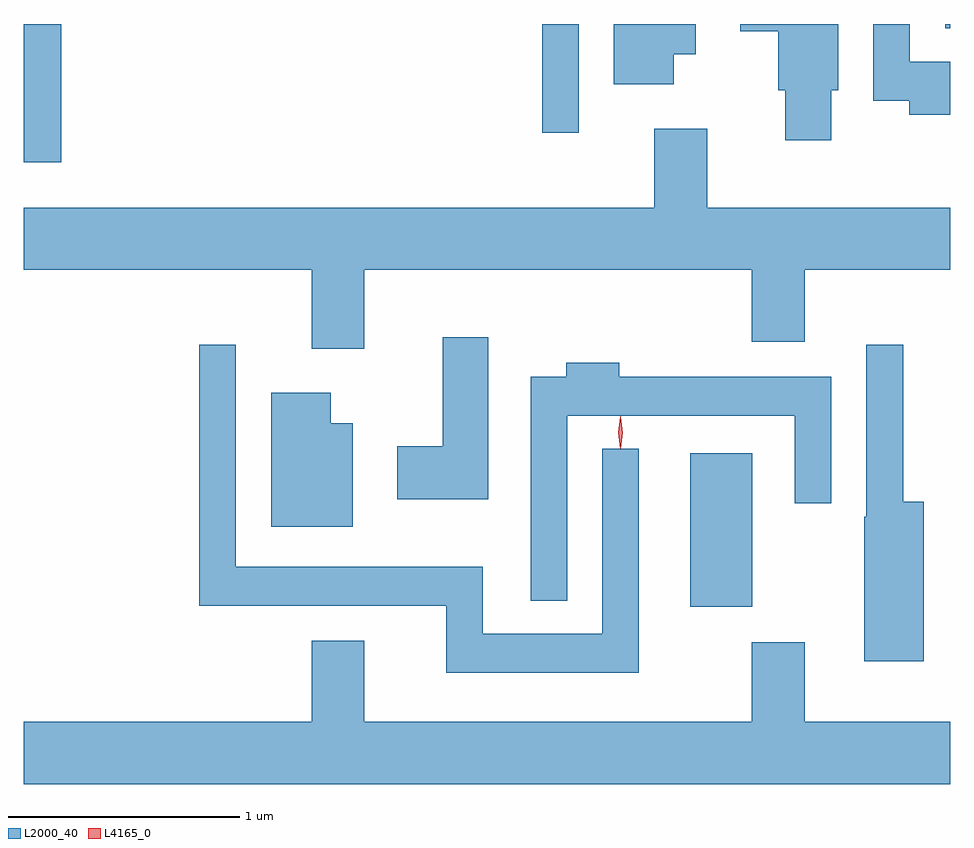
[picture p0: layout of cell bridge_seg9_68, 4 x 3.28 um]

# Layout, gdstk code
import gdstk
lib = gdstk.Library(unit=1e-6, precision=1e-09)
def R(c, l, rs):  # rectangles x0, y0, x1, y1
    for r in rs: c.add(gdstk.rectangle(r[:2], r[2:], *l))
def P(c, l, *ps):  # polygons
    for p in ps: c.add(gdstk.Polygon(p, *l))
L2000_40 = (2000, 40)
L4165_0 = (4165, 0)

bridge_seg9_68 = lib.new_cell('bridge_seg9_68')
R(bridge_seg9_68, L2000_40, [(1500.266,1959.281,1500.534,1959.944), (1497.388,1961.201,1497.549,1961.797), (1499.626,1961.328,1499.784,1961.797), (1501.366,1961.778,1501.388,1961.797)])
P(bridge_seg9_68, L2000_40, [(1500.874,1961.511),(1500.904,1961.511),(1500.904,1961.797),(1500.481,1961.797),(1500.481,1961.766),(1500.646,1961.766),(1500.646,1961.511),(1500.676,1961.511),(1500.676,1961.296),(1500.874,1961.296)],
  [(1501.388,1961.634),(1501.214,1961.634),(1501.214,1961.797),(1501.056,1961.797),(1501.056,1961.466),(1501.211,1961.466),(1501.211,1961.406),(1501.388,1961.406)],
  [(1500.194,1961.666),(1500.289,1961.666),(1500.289,1961.797),(1499.936,1961.797),(1499.936,1961.536),(1500.194,1961.536)],
  [(1498.859,1960.736),(1500.531,1960.736),(1500.531,1960.426),(1500.759,1960.426),(1500.759,1960.736),(1501.388,1960.736),(1501.388,1961.004),(1500.339,1961.004),(1500.339,1961.344),(1500.111,1961.344),(1500.111,1961.004),(1497.388,1961.004),(1497.388,1960.736),(1498.631,1960.736),(1498.631,1960.396),(1498.859,1960.396)],
  [(1499.394,1960.444),(1499.196,1960.444),(1499.196,1959.974),(1499.001,1959.974),(1499.001,1959.746),(1499.394,1959.746)],
  [(1500.044,1959.963),(1499.886,1959.963),(1499.886,1959.164),(1499.369,1959.164),(1499.369,1959.454),(1498.304,1959.454),(1498.304,1960.413),(1498.146,1960.413),(1498.146,1959.286),(1499.211,1959.286),(1499.211,1958.996),(1500.044,1958.996)],
  [(1501.274,1959.734),(1501.184,1959.734),(1501.184,1960.413),(1501.026,1960.413),(1501.026,1959.67),(1501.016,1959.67),(1501.016,1959.046),(1501.274,1959.046)],
  [(1499.734,1960.106),(1500.716,1960.106),(1500.716,1959.728),(1500.874,1959.728),(1500.874,1960.274),(1499.959,1960.274),(1499.959,1960.334),(1499.731,1960.334),(1499.731,1960.274),(1499.576,1960.274),(1499.576,1959.308),(1499.734,1959.308)],
  [(1498.809,1960.074),(1498.714,1960.074),(1498.714,1960.204),(1498.456,1960.204),(1498.456,1959.626),(1498.809,1959.626)],
  [(1501.388,1958.784),(1500.759,1958.784),(1500.759,1959.129),(1500.531,1959.129),(1500.531,1958.784),(1498.859,1958.784),(1498.859,1959.134),(1498.631,1959.134),(1498.631,1958.784),(1497.388,1958.784),(1497.388,1958.516),(1501.388,1958.516)])
P(bridge_seg9_68, L4165_0, [(1499.964,1959.967),(1499.964,1959.967),(1499.954,1960.034),(1499.963,1960.1),(1499.964,1960.1),(1499.964,1960.1),(1499.974,1960.034),(1499.965,1959.967)],
  [(1499.964,1959.964),(1499.955,1960.033),(1499.964,1960.102),(1499.965,1960.103),(1499.965,1960.102),(1499.975,1960.033),(1499.965,1959.964),(1499.965,1959.964)])

lib.write_gds('bridge_seg9_68.gds')
